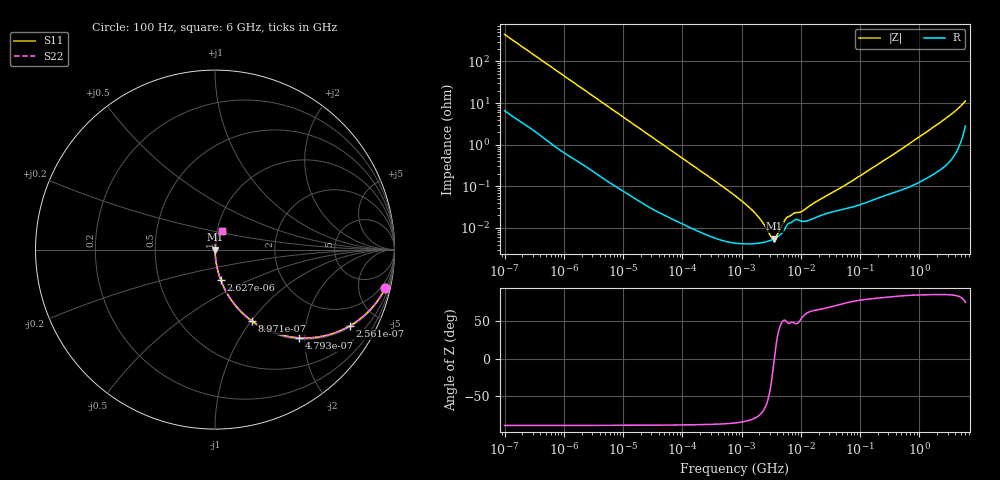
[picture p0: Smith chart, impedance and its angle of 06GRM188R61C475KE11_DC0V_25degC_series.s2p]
!Murata Part Number: GRM188R61C475KE11
!These Parameters are Measured in Series Mode Connection
!  o--ll--o
!Port1  Port2
!  o------o
!Operation Temp=25[degC], DC Bias Voltage=0[V]
!Freq. Start=100[Hz] Stop=6[GHz], 401[Steps]
!Data Generated on Oct 1, 2019
# Hz S RI R 50
!Freq.(Hz) S11(Real) S11(Imag) S21(Real) S21(Imag) S12(Real) S12(Imag) S22(Real) S22(Imag)
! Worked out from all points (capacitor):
!   401 points, 100 Hz to 6 GHz, reference 50 ohm
!   read as one part in series: C = 3.58 uF near 109.4 Hz
!   lowest |Z| = 5.5 mohm at 3.55 MHz (marker M1)
!   series resonance near 3.562 MHz, so ESL is about 560 pH
!   S11 on the Smith chart (normalised r, x): 100 Hz: 1.13, -8.86; 256.1 Hz: 1.05, -3.49; 479.3 Hz: 1.03, -1.88; 897.1 Hz: 1.01, -1.01; 2.627 kHz: 1.01, -0.35; 6 GHz: 1.06, +0.22
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100  0.9486 -0.2134  0.0514 0.2134  0.0514 0.2134  0.9486 -0.2134
163.6437  0.8772 -0.3209  0.1228 0.3209  0.1228 0.3209  0.8772 -0.3209
256.0666  0.7495 -0.4258  0.2505 0.4258  0.2505 0.4258  0.7495 -0.4258
479.2788  0.4686 -0.4917  0.5314 0.4917  0.5314 0.4917  0.4686 -0.4917
897.0642  0.2058 -0.3973  0.7942 0.3973  0.7942 0.3973  0.2058 -0.3973
2008.354  0.0518 -0.2142  0.9482 0.2142  0.9482 0.2142  0.0518 -0.2142
2627.318  0.0317 -0.1678  0.9683 0.1678  0.9683 0.1678  0.0317 -0.1678
8047.242  0.0042 -0.057  0.9958 0.057  0.9958 0.057  0.0042 -0.057
40334.87  0.00037 -0.0116  0.9996 0.0116  0.9996 0.0116  0.00037 -0.0116
774596.7  4.37e-05 -0.000597  1 0.000597  1 0.000597  4.37e-05 -0.000597
1585629  4.2e-05 -0.000246  1 0.000246  1 0.000246  4.2e-05 -0.000246
2594782  4.67e-05 -8.86e-05  1 8.86e-05  1 8.86e-05  4.67e-05 -8.86e-05
3549919  5.5e-05 -9.04e-07  0.9999 9.04e-07  0.9999 9.04e-07  5.5e-05 -9.04e-07
4440638  6.77e-05 6.3e-05  0.9999 -6.3e-05  0.9999 -6.3e-05  6.77e-05 6.3e-05
6075234  0.000126 0.000138  0.9999 -0.000138  0.9999 -0.000138  0.000126 0.000138
7599586  0.000151 0.000168  0.9998 -0.000168  0.9998 -0.000168  0.000151 0.000168
1.039699e7  0.000145 0.000204  0.9999 -0.000204  0.9999 -0.000204  0.000145 0.000204
1.555665e7  0.000165 0.000336  0.9998 -0.000336  0.9998 -0.000336  0.000165 0.000336
5.960426e7  0.000295 0.00109  0.9997 -0.00109  0.9997 -0.00109  0.000295 0.00109
3.124326e8  0.000676 0.00503  0.9993 -0.00503  0.9993 -0.00503  0.000676 0.00503
2.450438e9  0.00407 0.037  0.9959 -0.037  0.9959 -0.037  0.00407 0.037
6e9  0.0379 0.1013  0.9621 -0.1013  0.9621 -0.1013  0.0379 0.1013
